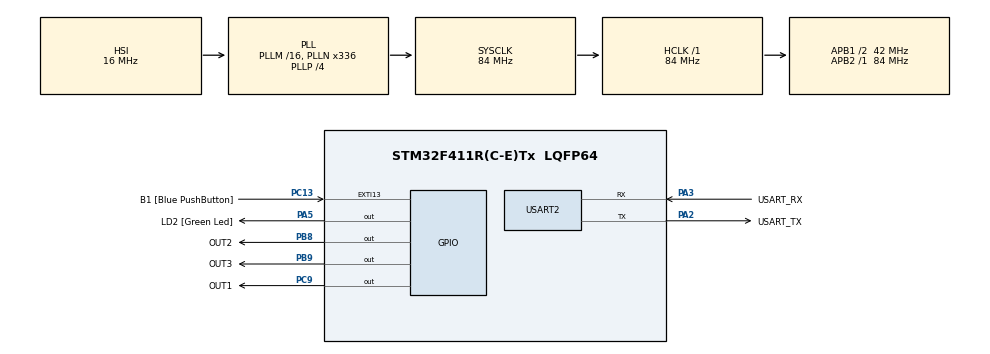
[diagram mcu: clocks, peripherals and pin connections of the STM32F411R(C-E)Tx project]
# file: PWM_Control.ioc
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FREERTOS.BinarySemaphores01=ButtonSemaphore,Dynamic,NULL
FREERTOS.Tasks01=defaultTask,0,128,StartDefaultTask,Default,NULL,Dynamic,NULL,NULL;Communications,1,128,StartCommunications,Default,NULL,Dynamic,NULL,NULL;Blinky,0,128,StartBlinky,Default,NULL,Dynamic,NULL,NULL;ButtonCheck,-2,128,StartButtonCheck,Default,NULL,Dynamic,NULL,NULL
Mcu.Family=STM32F4
Mcu.Name=STM32F411R(C-E)Tx
Mcu.Package=LQFP64
NVIC.PriorityGroup=NVIC_PRIORITYGROUP_4
NVIC.TIM1_UP_TIM10_IRQn=true\:15\:0\:false\:false\:true\:false\:false\:true\:true
NVIC.TimeBase=TIM1_UP_TIM10_IRQn
NVIC.TimeBaseIP=TIM10
PA13.GPIO_Label=TMS
PA13.Mode=Serial_Wire
PA13.Signal=SYS_JTMS-SWDIO
PA14.GPIO_Label=TCK
PA14.Mode=Serial_Wire
PA14.Signal=SYS_JTCK-SWCLK
PA2.GPIO_Label=USART_TX
PA2.Mode=Asynchronous
PA2.Signal=USART2_TX
PA3.GPIO_Label=USART_RX
PA3.Mode=Asynchronous
PA3.Signal=USART2_RX
PA5.GPIO_Label=LD2 [Green Led]
PA5.Signal=GPIO_Output
PB3.GPIO_Label=SWO
PB3.Signal=SYS_JTDO-SWO
PB8.GPIO_Label=OUT2
PB8.Signal=GPIO_Output
PB9.GPIO_Label=OUT3
PB9.Signal=GPIO_Output
PC13-ANTI_TAMP.GPIO_Label=B1 [Blue PushButton]
PC13-ANTI_TAMP.GPIO_ModeDefaultEXTI=GPIO_MODE_IT_FALLING
PC13-ANTI_TAMP.Signal=GPXTI13
PC14-OSC32_IN.Mode=LSE-External-Oscillator
PC14-OSC32_IN.Signal=RCC_OSC32_IN
PC15-OSC32_OUT.Mode=LSE-External-Oscillator
PC15-OSC32_OUT.Signal=RCC_OSC32_OUT
PC9.GPIO_Label=OUT1
PC9.Signal=GPIO_Output
PH0\ -\ OSC_IN.Mode=HSE-External-Clock-Source
PH0\ -\ OSC_IN.Signal=RCC_OSC_IN
PH1\ -\ OSC_OUT.Mode=HSE-External-Clock-Source
PH1\ -\ OSC_OUT.Signal=RCC_OSC_OUT
ProjectManager.HeapSize=0x200
ProjectManager.StackSize=0x400
ProjectManager.TargetToolchain=STM32CubeIDE
RCC.48MHZClocksFreq_Value=84000000
RCC.AHBFreq_Value=84000000
RCC.APB1CLKDivider=RCC_HCLK_DIV2
RCC.APB1Freq_Value=42000000
RCC.APB1TimFreq_Value=84000000
RCC.APB2Freq_Value=84000000
RCC.APB2TimFreq_Value=84000000
RCC.CortexFreq_Value=84000000
RCC.FLatency-AdvancedSettings=FLASH_LATENCY_2
RCC.HCLKFreq_Value=84000000
RCC.HSE_VALUE=8000000
RCC.HSI_VALUE=16000000
RCC.PLLN=336
RCC.PLLP=RCC_PLLP_DIV4
RCC.SYSCLKFreq_VALUE=84000000
RCC.SYSCLKSource=RCC_SYSCLKSOURCE_PLLCLK
RCC.VCOOutputFreq_Value=336000000
USART2.VirtualMode=VM_ASYNC
VP_FREERTOS_VS_CMSIS_V1.Mode=CMSIS_V1
VP_SYS_VS_tim10.Mode=TIM10
board=NUCLEO-F411RE

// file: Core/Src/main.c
/* USER CODE BEGIN Header */
/**
  ******************************************************************************
  * @file           : main.c
  * @brief          : Main program body
  ******************************************************************************
  * @attention
  *
  * Copyright (c) 2023 STMicroelectronics.
  * All rights reserved.
  *
  * This software is licensed under terms that can be found in the LICENSE file
  * in the root directory of this software component.
  * If no LICENSE file comes with this software, it is provided AS-IS.
  *
  ******************************************************************************
  */
/* USER CODE END Header */
#include "main.h"
#include "cmsis_os.h"

UART_HandleTypeDef huart2;

osThreadId defaultTaskHandle;
osThreadId CommunicationsHandle;
osThreadId BlinkyHandle;
osThreadId ButtonCheckHandle;
osSemaphoreId ButtonSemaphoreHandle;

void SystemClock_Config(void);
static void MX_GPIO_Init(void);
static void MX_USART2_UART_Init(void);
void StartDefaultTask(void const * argument);
void StartCommunications(void const * argument);
void StartBlinky(void const * argument);
void StartButtonCheck(void const * argument);

int main(void)
{

  /* MCU Configuration--------------------------------------------------------*/

  /* Reset of all peripherals, Initializes the Flash interface and the Systick. */
  HAL_Init();

  /* Configure the system clock */
  SystemClock_Config();

  /* Initialize all configured peripherals */
  MX_GPIO_Init();
  MX_USART2_UART_Init();

  /* Create the semaphores(s) */
  /* definition and creation of ButtonSemaphore */
  osSemaphoreDef(ButtonSemaphore);
  ButtonSemaphoreHandle = osSemaphoreCreate(osSemaphore(ButtonSemaphore), 1);

  /* Create the thread(s) */
  /* definition and creation of defaultTask */
  osThreadDef(defaultTask, StartDefaultTask, osPriorityNormal, 0, 128);
  defaultTaskHandle = osThreadCreate(osThread(defaultTask), NULL);

  /* definition and creation of Communications */
  osThreadDef(Communications, StartCommunications, osPriorityAboveNormal, 0, 128);
  CommunicationsHandle = osThreadCreate(osThread(Communications), NULL);

  /* definition and creation of Blinky */
  osThreadDef(Blinky, StartBlinky, osPriorityNormal, 0, 128);
  BlinkyHandle = osThreadCreate(osThread(Blinky), NULL);

  /* definition and creation of ButtonCheck */
  osThreadDef(ButtonCheck, StartButtonCheck, osPriorityLow, 0, 128);
  ButtonCheckHandle = osThreadCreate(osThread(ButtonCheck), NULL);

  /* Start scheduler */
  osKernelStart();
  /* We should never get here as control is now taken by the scheduler */
  /* Infinite loop */
  while (1)
  {

  }
}

void SystemClock_Config(void)
{
  RCC_OscInitTypeDef RCC_OscInitStruct = {0};
  RCC_ClkInitTypeDef RCC_ClkInitStruct = {0};

  /** Configure the main internal regulator output voltage
  */
  __HAL_RCC_PWR_CLK_ENABLE();
  __HAL_PWR_VOLTAGESCALING_CONFIG(PWR_REGULATOR_VOLTAGE_SCALE1);

  /** Initializes the RCC Oscillators according to the specified parameters
  * in the RCC_OscInitTypeDef structure.
  */
  RCC_OscInitStruct.OscillatorType = RCC_OSCILLATORTYPE_HSI;
  RCC_OscInitStruct.HSIState = RCC_HSI_ON;
  RCC_OscInitStruct.HSICalibrationValue = RCC_HSICALIBRATION_DEFAULT;
  RCC_OscInitStruct.PLL.PLLState = RCC_PLL_ON;
  RCC_OscInitStruct.PLL.PLLSource = RCC_PLLSOURCE_HSI;
  RCC_OscInitStruct.PLL.PLLM = 16;
  RCC_OscInitStruct.PLL.PLLN = 336;
  RCC_OscInitStruct.PLL.PLLP = RCC_PLLP_DIV4;
  RCC_OscInitStruct.PLL.PLLQ = 4;
  if (HAL_RCC_OscConfig(&RCC_OscInitStruct) != HAL_OK)
  {
    Error_Handler();
  }

  /** Initializes the CPU, AHB and APB buses clocks
  */
  RCC_ClkInitStruct.ClockType = RCC_CLOCKTYPE_HCLK|RCC_CLOCKTYPE_SYSCLK
                              |RCC_CLOCKTYPE_PCLK1|RCC_CLOCKTYPE_PCLK2;
  RCC_ClkInitStruct.SYSCLKSource = RCC_SYSCLKSOURCE_PLLCLK;
  RCC_ClkInitStruct.AHBCLKDivider = RCC_SYSCLK_DIV1;
  RCC_ClkInitStruct.APB1CLKDivider = RCC_HCLK_DIV2;
  RCC_ClkInitStruct.APB2CLKDivider = RCC_HCLK_DIV1;

  if (HAL_RCC_ClockConfig(&RCC_ClkInitStruct, FLASH_LATENCY_2) != HAL_OK)
  {
    Error_Handler();
  }
}

static void MX_USART2_UART_Init(void)
{

  huart2.Instance = USART2;
  huart2.Init.BaudRate = 115200;
  huart2.Init.WordLength = UART_WORDLENGTH_8B;
  huart2.Init.StopBits = UART_STOPBITS_1;
  huart2.Init.Parity = UART_PARITY_NONE;
  huart2.Init.Mode = UART_MODE_TX_RX;
  huart2.Init.HwFlowCtl = UART_HWCONTROL_NONE;
  huart2.Init.OverSampling = UART_OVERSAMPLING_16;
  if (HAL_UART_Init(&huart2) != HAL_OK)
  {
    Error_Handler();
  }

}

static void MX_GPIO_Init(void)
{
  GPIO_InitTypeDef GPIO_InitStruct = {0};

  /* GPIO Ports Clock Enable */
  __HAL_RCC_GPIOC_CLK_ENABLE();
  __HAL_RCC_GPIOH_CLK_ENABLE();
  __HAL_RCC_GPIOA_CLK_ENABLE();
  __HAL_RCC_GPIOB_CLK_ENABLE();

  /*Configure GPIO pin Output Level */
  HAL_GPIO_WritePin(LD2_GPIO_Port, LD2_Pin, GPIO_PIN_RESET);

  /*Configure GPIO pin Output Level */
  HAL_GPIO_WritePin(OUT1_GPIO_Port, OUT1_Pin, GPIO_PIN_RESET);

  /*Configure GPIO pin Output Level */
  HAL_GPIO_WritePin(GPIOB, OUT2_Pin|OUT3_Pin, GPIO_PIN_RESET);

  /*Configure GPIO pin : B1_Pin */
  GPIO_InitStruct.Pin = B1_Pin;
  GPIO_InitStruct.Mode = GPIO_MODE_IT_FALLING;
  GPIO_InitStruct.Pull = GPIO_NOPULL;
  HAL_GPIO_Init(B1_GPIO_Port, &GPIO_InitStruct);

  /*Configure GPIO pin : LD2_Pin */
  GPIO_InitStruct.Pin = LD2_Pin;
  GPIO_InitStruct.Mode = GPIO_MODE_OUTPUT_PP;
  GPIO_InitStruct.Pull = GPIO_NOPULL;
  GPIO_InitStruct.Speed = GPIO_SPEED_FREQ_LOW;
  HAL_GPIO_Init(LD2_GPIO_Port, &GPIO_InitStruct);

  /*Configure GPIO pin : OUT1_Pin */
  GPIO_InitStruct.Pin = OUT1_Pin;
  GPIO_InitStruct.Mode = GPIO_MODE_OUTPUT_PP;
  GPIO_InitStruct.Pull = GPIO_NOPULL;
  GPIO_InitStruct.Speed = GPIO_SPEED_FREQ_LOW;
  HAL_GPIO_Init(OUT1_GPIO_Port, &GPIO_InitStruct);

  /*Configure GPIO pins : OUT2_Pin OUT3_Pin */
  GPIO_InitStruct.Pin = OUT2_Pin|OUT3_Pin;
  GPIO_InitStruct.Mode = GPIO_MODE_OUTPUT_PP;
  GPIO_InitStruct.Pull = GPIO_NOPULL;
  GPIO_InitStruct.Speed = GPIO_SPEED_FREQ_LOW;
  HAL_GPIO_Init(GPIOB, &GPIO_InitStruct);

}

void StartDefaultTask(void const * argument)
{
  for(;;)
  {
    osDelay(1);
  }
}

void StartCommunications(void const * argument)
{
  for(;;)
  {
    osDelay(1);
  }
}

void StartBlinky(void const * argument)
{
  /* USER CODE BEGIN StartBlinky */
  /* Infinite loop */
  for(;;)
  {
	  HAL_GPIO_TogglePin(LD2_GPIO_Port, LD2_Pin);
	  osDelay(100);
  }
  /* USER CODE END StartBlinky */
}

void StartButtonCheck(void const * argument)
{
  /* USER CODE BEGIN StartButtonCheck */
	int8_t contador=0;
  /* Infinite loop */
  for(;;)
  {
	  while(HAL_GPIO_ReadPin(B1_GPIO_Port, B1_Pin));

	  contador++;
	  if (contador==0)
	  {
		  HAL_GPIO_WritePin(OUT1_GPIO_Port, OUT1_Pin, GPIO_PIN_RESET);
		  HAL_GPIO_WritePin(OUT2_GPIO_Port, OUT2_Pin, GPIO_PIN_RESET);
		  HAL_GPIO_WritePin(OUT3_GPIO_Port, OUT3_Pin, GPIO_PIN_RESET);
	  }
	  else if (contador==1)
	  {
		  HAL_GPIO_WritePin(OUT1_GPIO_Port, OUT1_Pin, GPIO_PIN_SET);
		  HAL_GPIO_WritePin(OUT2_GPIO_Port, OUT2_Pin, GPIO_PIN_RESET);
		  HAL_GPIO_WritePin(OUT3_GPIO_Port, OUT3_Pin, GPIO_PIN_RESET);
	  }
	  else if (contador==2)
	  {
		  HAL_GPIO_WritePin(OUT1_GPIO_Port, OUT1_Pin, GPIO_PIN_RESET);
		  HAL_GPIO_WritePin(OUT2_GPIO_Port, OUT2_Pin, GPIO_PIN_SET);
		  HAL_GPIO_WritePin(OUT3_GPIO_Port, OUT3_Pin, GPIO_PIN_RESET);
	  }
	  else if (contador==3)
	  {
		  HAL_GPIO_WritePin(OUT1_GPIO_Port, OUT1_Pin, GPIO_PIN_RESET);
		  HAL_GPIO_WritePin(OUT2_GPIO_Port, OUT2_Pin, GPIO_PIN_RESET);
		  HAL_GPIO_WritePin(OUT3_GPIO_Port, OUT3_Pin, GPIO_PIN_SET);
	  }
	  else if (contador==4)
	  {
		  HAL_GPIO_WritePin(OUT1_GPIO_Port, OUT1_Pin, GPIO_PIN_SET);
		  HAL_GPIO_WritePin(OUT2_GPIO_Port, OUT2_Pin, GPIO_PIN_SET);
		  HAL_GPIO_WritePin(OUT3_GPIO_Port, OUT3_Pin, GPIO_PIN_SET);
		  contador=-1;
	  }

	  char *str1 = "Button Pressed\n";
	  HAL_UART_Transmit(&huart2, (uint8_t *) str1, strlen (str1), 100);
	  while(!HAL_GPIO_ReadPin(B1_GPIO_Port, B1_Pin));

    osDelay(1);
  }
  /* USER CODE END StartButtonCheck */
}

void HAL_TIM_PeriodElapsedCallback(TIM_HandleTypeDef *htim)
{
  if (htim->Instance == TIM10) {
    HAL_IncTick();
  }
}

void Error_Handler(void)
{
  __disable_irq();
  while (1)
  {
  }
}
